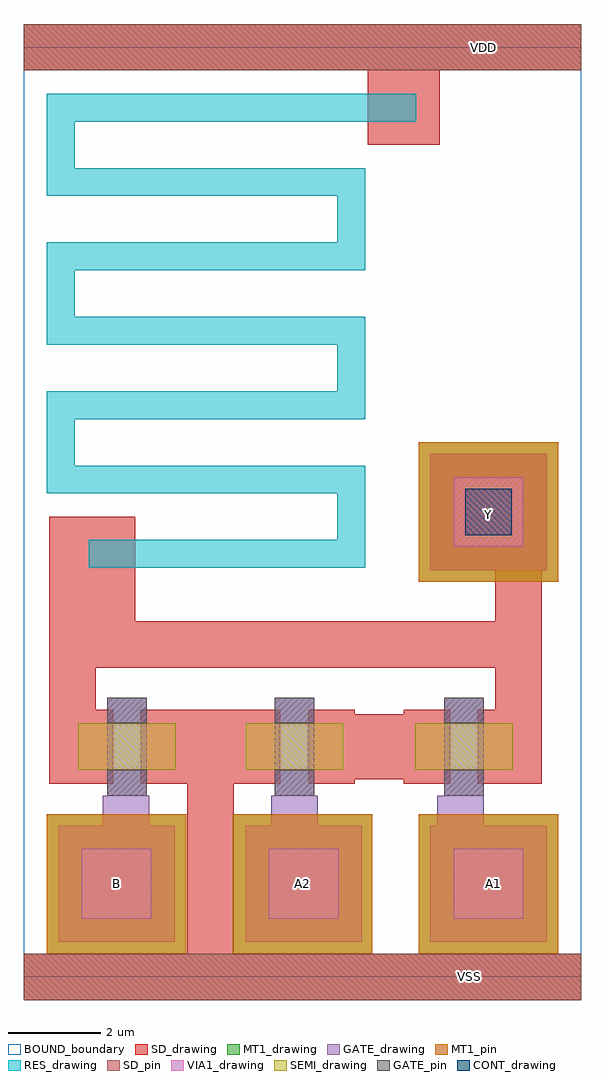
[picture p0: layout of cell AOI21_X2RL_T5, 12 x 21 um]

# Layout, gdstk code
from math import pi, radians
import gdstk
lib = gdstk.Library(unit=1e-6, precision=1e-09)
def R(c, l, rs):  # rectangles x0, y0, x1, y1
    for r in rs: c.add(gdstk.rectangle(r[:2], r[2:], *l))
def A(c, l, x, y, w, h, nx, ny, dx, dy):  # array of equal rectangles
    R(c, l, [(x+i*dx, y+j*dy, x+i*dx+w, y+j*dy+h) for i in range(nx) for j in range(ny)])
def P(c, l, *ps):  # polygons
    for p in ps: c.add(gdstk.Polygon(p, *l))
RES_drawing = (1, 0)
SEMI_drawing = (3, 0)
SD_drawing = (10, 0)
SD_pin = (10, 3)
GATE_drawing = (11, 0)
GATE_pin = (11, 3)
MT1_drawing = (20, 0)
MT1_pin = (20, 3)
CONT_drawing = (30, 0)
VIA1_drawing = (41, 0)
BOUND_boundary = (150, 5)

nch_cdns_772544883260 = lib.new_cell('nch_CDNS_772544883260')
R(nch_cdns_772544883260, SEMI_drawing, [(-1.05,-0.5,1.05,0.5)])
R(nch_cdns_772544883260, SD_drawing, [(-1.3,-0.8,-0.3,0.8), (0.3,-0.8,1.3,0.8)])
R(nch_cdns_772544883260, GATE_drawing, [(-0.425,-1.05,0.425,1.05)])
R(nch_cdns_772544883260, GATE_pin, [(-0.425,-1.05,0.425,-0.5), (-0.425,0.5,0.425,1.05)])

gate_mt1_cdns_7725448832 = lib.new_cell('GATE_MT1_CDNS_772544883260')
R(gate_mt1_cdns_7725448832, GATE_drawing, [(-1.25,-1.25,1.25,1.25)])
R(gate_mt1_cdns_7725448832, MT1_drawing, [(-1.25,-1.25,1.25,1.25)])
R(gate_mt1_cdns_7725448832, VIA1_drawing, [(-0.75,-0.75,0.75,0.75)])

sd_gate_cdns_77254488326 = lib.new_cell('SD_GATE_CDNS_772544883261')
R(sd_gate_cdns_77254488326, SD_drawing, [(-1,-1,1,1)])
R(sd_gate_cdns_77254488326, GATE_drawing, [(-1,-1,1,1)])
R(sd_gate_cdns_77254488326, CONT_drawing, [(-0.5,-0.5,0.5,0.5)])

aoi21_x2rl_t5 = lib.new_cell('AOI21_X2RL_T5')
R(aoi21_x2rl_t5, SD_drawing, [(7.125,4.25,8.175,5.65), (0.55,7.6,2.4,9.9), (8.75,8.75,11.25,11.25), (7.4,17.9,8.95,19.5)])
R(aoi21_x2rl_t5, SD_pin, [(0,-0.5,12,0.5), (0,19.5,12,20.5)])
R(aoi21_x2rl_t5, GATE_drawing, [(8.9,3.8,9.9,3.9)])
P(aoi21_x2rl_t5, GATE_drawing, [(5.325,3.8),(6.325,3.8),(6.325,3.9),(6.2,3.9),(6.2,3.95),(5.45,3.95),(5.45,3.9),(5.325,3.9)],
  [(1.7,3.8),(2.7,3.8),(2.7,3.9),(2.575,3.9),(2.575,3.95),(1.825,3.95),(1.825,3.9),(1.7,3.9)])
A(aoi21_x2rl_t5, MT1_drawing, 0.5, 0.5, 3, 3, 3, 1, 4, 0)
R(aoi21_x2rl_t5, MT1_drawing, [(8.5,0.5,11.5,3.5), (8.5,8.5,11.5,11.5)])
A(aoi21_x2rl_t5, MT1_pin, 0.5, 0.5, 3, 3, 3, 1, 4, 0)
R(aoi21_x2rl_t5, MT1_pin, [(8.5,8.5,11.5,11.5)])
R(aoi21_x2rl_t5, BOUND_boundary, [(0,0,12,20)])
aoi21_x2rl_t5.add(gdstk.FlexPath([(10.65,7.15),(10.7,7.15)], 1, ends=(0.5, 0), simple_path=True, layer=10, datatype=0))  # SD_drawing
aoi21_x2rl_t5.add(gdstk.FlexPath([(1.05,7.15),(10.65,7.15)], 1, ends="extended", simple_path=True, layer=10, datatype=0))  # SD_drawing
aoi21_x2rl_t5.add(gdstk.FlexPath([(10.65,7.15),(10.65,8.75)], 1, ends=(0.5, 0), simple_path=True, layer=10, datatype=0))  # SD_drawing
aoi21_x2rl_t5.add(gdstk.FlexPath([(4.025,5.25),(4.025,0.1)], 1, ends=(0.5, 0), simple_path=True, layer=10, datatype=0))  # SD_drawing
aoi21_x2rl_t5.add(gdstk.FlexPath([(4.5,5.25),(4.025,5.25)], 1, ends=(0, 0.5), simple_path=True, layer=10, datatype=0))  # SD_drawing
aoi21_x2rl_t5.add(gdstk.FlexPath([(1.05,4.15),(1.05,7.15)], 1, ends=(0, 0.5), simple_path=True, layer=10, datatype=0))  # SD_drawing
aoi21_x2rl_t5.add(gdstk.FlexPath([(10.65,4.15),(10.65,7.15)], 1, ends=(0, 0.5), simple_path=True, layer=10, datatype=0))  # SD_drawing
aoi21_x2rl_t5.add(gdstk.FlexPath([(0,20),(12,20)], 1, ends="flush", simple_path=True, layer=10, datatype=0))  # SD_drawing
aoi21_x2rl_t5.add(gdstk.FlexPath([(0,0),(12,0)], 1, ends="flush", simple_path=True, layer=10, datatype=0))  # SD_drawing
aoi21_x2rl_t5.add(gdstk.FlexPath([(2.2,2),(2,2)], 1, ends=(0.5, 0), simple_path=True, layer=11, datatype=0))  # GATE_drawing
aoi21_x2rl_t5.add(gdstk.FlexPath([(2.2,3.8),(2.2,2)], 1, ends=(0, 0.5), simple_path=True, layer=11, datatype=0))  # GATE_drawing
aoi21_x2rl_t5.add(gdstk.FlexPath([(5.825,3.25),(5.825,3.8)], 1, ends="flush", simple_path=True, layer=11, datatype=0))  # GATE_drawing
aoi21_x2rl_t5.add(gdstk.FlexPath([(9.4,3.8),(9.4,2.75)], 1, ends=(0, 0.5), simple_path=True, layer=11, datatype=0))  # GATE_drawing
aoi21_x2rl_t5.add(gdstk.FlexPath([(10,2.75),(10,2)], 1, ends=(0.5, 0), simple_path=True, layer=11, datatype=0))  # GATE_drawing
aoi21_x2rl_t5.add(gdstk.FlexPath([(9.4,2.75),(10,2.75)], 1, ends="extended", simple_path=True, layer=11, datatype=0))  # GATE_drawing
aoi21_x2rl_t5.add(gdstk.FlexPath([(8.45,18.7),(0.8,18.7),(0.8,17.1),(7.05,17.1),(7.05,15.5),(0.8,15.5),(0.8,13.9),(7.05,13.9),(7.05,12.3),(0.8,12.3),(0.8,10.7),(7.05,10.7),(7.05,9.1),(1.4,9.1)], 0.6, ends="flush", simple_path=True, layer=1, datatype=0))  # RES_drawing
aoi21_x2rl_t5.add(gdstk.Reference(nch_cdns_772544883260, (2.225,4.95), rotation=pi, x_reflection=True))
aoi21_x2rl_t5.add(gdstk.Reference(nch_cdns_772544883260, (9.475,4.95)))
aoi21_x2rl_t5.add(gdstk.Reference(nch_cdns_772544883260, (5.825,4.95)))
aoi21_x2rl_t5.add(gdstk.Reference(gate_mt1_cdns_7725448832, (2,2)))
aoi21_x2rl_t5.add(gdstk.Reference(gate_mt1_cdns_7725448832, (10,10)))
aoi21_x2rl_t5.add(gdstk.Reference(gate_mt1_cdns_7725448832, (10,2)))
aoi21_x2rl_t5.add(gdstk.Reference(gate_mt1_cdns_7725448832, (6.025,2)))
aoi21_x2rl_t5.add(gdstk.Reference(sd_gate_cdns_77254488326, (10,10)))
aoi21_x2rl_t5.add(gdstk.Label('A1', (10.1,2), layer=20, texttype=3))
aoi21_x2rl_t5.add(gdstk.Label('B', (2,2), layer=20, texttype=3))
aoi21_x2rl_t5.add(gdstk.Label('A2', (6,2), layer=20, texttype=3))
aoi21_x2rl_t5.add(gdstk.Label('A1', (10.1,2), layer=20, texttype=3))
aoi21_x2rl_t5.add(gdstk.Label('Y', (10,9.95), layer=20, texttype=3))
aoi21_x2rl_t5.add(gdstk.Label('VSS', (9.6,0), layer=10, texttype=3))
aoi21_x2rl_t5.add(gdstk.Label('VDD', (9.9,20), layer=10, texttype=3))

lib.write_gds('AOI21_X2RL_T5.gds')
